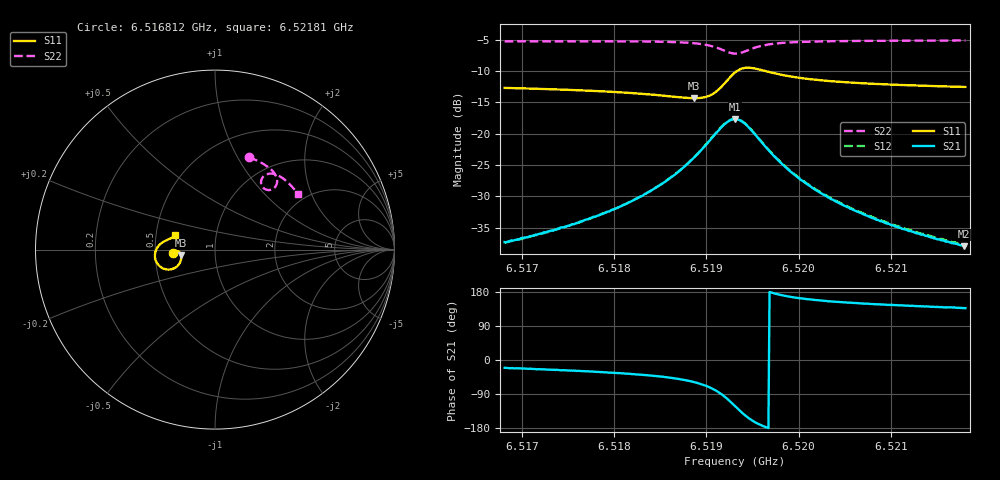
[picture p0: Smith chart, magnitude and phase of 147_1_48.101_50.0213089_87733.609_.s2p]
#  HZ  S  RI  R  50.00
! Rohde & Schwarz Vector Network Analyzer
! Rohde-Schwarz,ZNB20-2Port,1311601062101988,3.16
! Created: UTC 12/23/2023, 3:49:22 AM
! freq[Hz]  re:S11  im:S11  re:S21  im:S21  re:S12  im:S12  re:S22  im:S22
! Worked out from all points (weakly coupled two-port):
!   401 points, 6.516812 GHz to 6.52181 GHz, reference 50 ohm
!   highest |S21| = -17.67 dB at 6.519311 GHz (marker M1); lowest = -38.0 dB at 6.521797 GHz (marker M2)
!   lowest |S11| = -14.3 dB at 6.518861 GHz (marker M3), VSWR 1.48, Z = 34 - j2.31 ohm
!   |S11| at or under -10 dB: start of sweep to 6.51933 GHz; 6.519646 GHz to end of sweep
!   |S22| runs from -7.2 to -5.1 dB; largest |S21 - S12| = 0.004
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6.5168118e9  -0.2316 -0.0207  0.0128 -0.0048  0.0127 -0.00455  0.19 0.5138
6.5172741e9  -0.2269 -0.0136  0.0149 -0.00703  0.015 -0.00647  0.2242 0.5004
6.517649e9  -0.2219 -0.00899  0.0174 -0.00978  0.0178 -0.00926  0.2519 0.4872
6.5181363e9  -0.2127 -0.00606  0.0223 -0.0163  0.023 -0.0157  0.2885 0.4653
6.5184862e9  -0.2029 -0.00978  0.028 -0.0263  0.0289 -0.0255  0.3156 0.4433
6.5186861e9  -0.1957 -0.0176  0.0317 -0.0374  0.0331 -0.0364  0.3309 0.4255
6.518861e9  -0.1894 -0.0327  0.0339 -0.0542  0.0358 -0.0534  0.3426 0.4034
6.518986e9  -0.1889 -0.0526  0.031 -0.0737  0.0335 -0.0734  0.3463 0.3807
6.5190734e9  -0.1954 -0.073  0.0219 -0.0924  0.0248 -0.0924  0.3423 0.3612
6.5192109e9  -0.2357 -0.1074  -0.0194 -0.12  -0.016 -0.1214  0.312 0.3333
6.5193108e9  -0.2907 -0.1042  -0.0686 -0.1114  -0.0658 -0.1142  0.2745 0.3395
6.5193733e9  -0.3192 -0.0809  -0.0915 -0.0881  -0.0895 -0.0915  0.2594 0.3591
6.5194358e9  -0.3331 -0.0502  -0.1006 -0.0604  -0.0994 -0.0637  0.2568 0.3818
6.5195357e9  -0.3309 -0.00847  -0.094 -0.0248  -0.0941 -0.0279  0.2707 0.4083
6.5196482e9  -0.3154 0.0198  -0.0778 -0.00336  -0.0783 -0.00566  0.293 0.4211
6.5198981e9  -0.2848 0.0447  -0.0497 0.0114  -0.0506 0.00977  0.3329 0.4205
6.520148e9  -0.2665 0.0534  -0.0346 0.0131  -0.0354 0.0124  0.3601 0.4089
6.5205728e9  -0.2487 0.0613  -0.0219 0.0121  -0.0225 0.0117  0.3937 0.3852
6.5209852e9  -0.238 0.0675  -0.0156 0.0108  -0.0161 0.0105  0.4194 0.361
6.52131e9  -0.2315 0.0721  -0.0124 0.00978  -0.0129 0.00953  0.4371 0.3414
6.5217973e9  -0.2232 0.0787  -0.00929 0.00858  -0.00981 0.00852  0.4609 0.3111
6.5218098e9  -0.223 0.079  -0.00927 0.00871  -0.00958 0.00861  0.4617 0.3104
